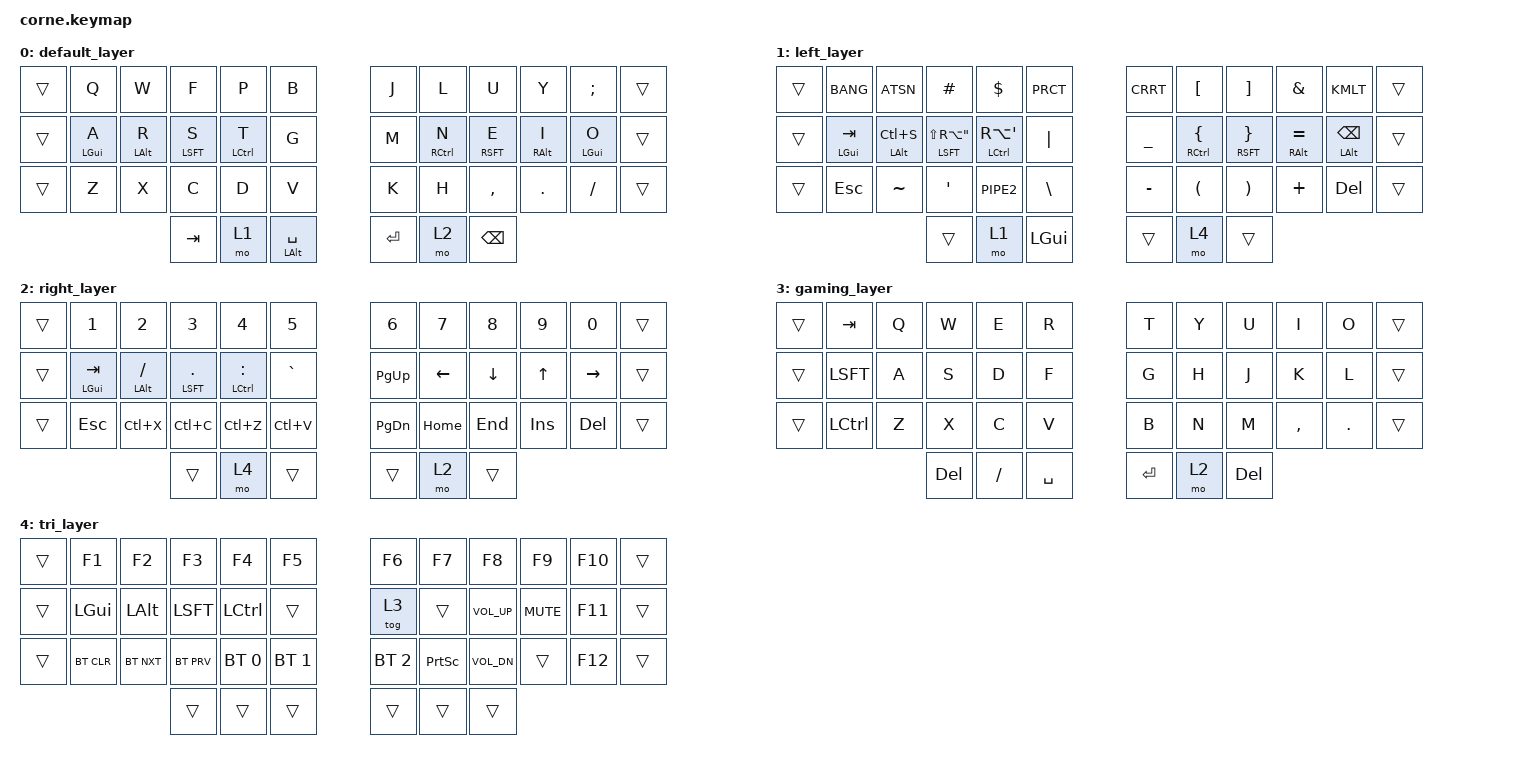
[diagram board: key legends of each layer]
/*
 * Copyright (c) 2022 The ZMK Contributors
 *
 * SPDX-License-Identifier: MIT
 */

#include <behaviors.dtsi>
#include <dt-bindings/zmk/keys.h>
#include <dt-bindings/zmk/bt.h>
#include "keys_se.h"

&mt {
    flavor = "tap-preferred";
    tapping_term_ms = <300>;
};

/ {
    macros {

        ZMK_MACRO(arrow,
            wait-ms = <30>;
            tap-ms = <40>;
            bindings = <&kp MINUS &kp LS(DOT)>;
        )

        ZMK_MACRO(eql_arrow,
            wait-ms = <30>;
            tap-ms = <40>;
            bindings = <&kp EQL &kp LS(DOT)>;
        )
    };

    combos {
        compatible = "zmk,combos";
        combo_esc {
            timeout-ms = <50>;
            key-positions = <1 2>;
            bindings = <&kp ESC>;
        };
        combo_capsword {
            timeout-ms = <50>;
            key-positions = <15 20>;
            bindings = <&caps_word>;
        };
        combo_eql_arrow {
            timeout-ms = <50>;
            key-positions = <4 5>;
            layers = <0 1 2 4>;
            bindings = <&eql_arrow>;
        };

        combo_arrow {
            timeout-ms = <50>;
            key-positions = <16 17>;
            layers = <0 1 2 4>;
            bindings = <&arrow>;
        };

         combo_tab {
            timeout-ms = <50>;
            key-positions = <14 15>;
            layers = <0 1 2 4>;
            bindings = <&kp TAB>;
        };
        combo_LPRN {
            timeout-ms = <50>;
            key-positions = <3 4>;
            layers = <0 1 2 4>;
            bindings = <&kp LPRN>;
        };

        combo_LBRC {
            timeout-ms = <50>;
            key-positions = <27 28>;
            layers = <0 1 2 4>;
            bindings = <&kp LBRC>;
        };

        combo_RPRN {
            timeout-ms = <50>;
            key-positions = <7 8>;
            layers = <0 1 2 4>;
            bindings = <&kp RPRN>;
        };

        combo_RBRC {
            timeout-ms = <50>;
            key-positions = <31 32>;
            layers = <0 1 2 4>;
            bindings = <&kp RBRC>;
        };

        combo_UNDER {
            timeout-ms = <50>;
            key-positions = <19 31>;
            layers = <0 1 2 4>;
            bindings = <&kp UNDER>;
        };

         combo_del {
            timeout-ms = <50>;
            key-positions = <33 34>;
            layers = <0 1 2 4>;
            bindings = <&kp DEL>;
        };

       combo_bspc {
            timeout-ms = <50>;
            key-positions = <19 20>;
            layers = <0 1 2 4>;
            bindings = <&kp BSPC>;
        };

        combo_ae {
            timeout-ms = <50>;
            key-positions = <20 21>;
            layers = <0 1 2 4>;
            bindings = <&kp RA(Q)>;
        };

        combo_oe {
            timeout-ms = <50>;
            key-positions = <32 33>;
            layers = <0 1 2 4>;
            bindings = <&kp RA(P)>;
        };

        combo_a {
            timeout-ms = <50>;
            key-positions = <8 9>;
            layers = <0 1 2 4>;
            bindings = <&kp RA(W)>;
        };

        combo_to_default {
            timeout-ms = <50>;
            key-positions = <38 39>;
            bindings = <&to 0>;
};

    };

        keymap {
                compatible = "zmk,keymap";

/*
* Base Layer: Colemak DH
*
* ,----------------------------------.                              ,----------------------------------.
* |   Q  |   W  |   F  |   P  |   B  |                              |   J  |   L  |   U  |   Y  | ;  : |
* |------+------+------+------+------|                              |------+------+------+------+------|
* |GUI(A)|alt(R)|sft(S)|ctl(T)|   G  |                              |   M  |ctl(N)|sft(E)|alt(I)|GUI(O)|
* |------+------+------+------+------|                              |------+------+------+------+------|
* |   Z  |   X  |   C  |   D  |   V  |                              |   K  |   H  | ,  < | . >  | /  ? |
* `--------------------+------+------|                              |------+------+------+------+------'
*               | TAB  |  Sym |Space |                              | Enter|  Nav | BSPC |
*               `--------------------'                              `--------------------'
*/
            default_layer {
        bindings = <

        &trans   &kp Q &kp W &kp F &kp P &kp B                       &kp J &kp L  &kp U    &kp Y   &kp SEMI &trans
        &trans &mt LGUI A &mt LALT R &mt LSFT S &mt LCTL T &kp G     &kp M &mt RCTL N &mt RSFT E &mt RALT I &mt LGUI O &trans
        &trans   &kp Z &kp X &kp C &kp D &kp V                       &kp K &kp H  &kp CMMA &kp DOT &kp SLASH &trans
                            &kp TAB &mo 1 &mt LALT SPC                       &kp RET &mo 2 &kp BSPC
        >;
        };

/*
* Sym Layer: Symbols
*
* ,----------------------------------.                                ,-----------------------------------.
* |   !    |   @  |   #  |   $  |   %  |                              |   ^  |   [  |   ]  |   &  |   *   |
* |--------+------+------+------+------|                              |------+------+------+------+-------|
* |GUI(tab)|  alt |   "  |   '  |   |  |                              |   _  |   {  |   }  |   =  |Backspc|
* |--------+------+------+------+------|                              |------+------+------+------+-------|
* |   ESC  |   ~  |   `  |   |  |   \  |                              |   -  |   (  |   )  |   +  | Delete|
* `----------------------+------+------|                              |------+------+------+------+-------'
*                 |      |      |  GUI |                              | Enter| Fkeys|      |
*                 `--------------------'                              `--------------------'
*/
            left_layer {
        bindings = <

        &trans  &kp BANG  &kp ATSN &kp HASH  &kp DLLR  &kp PRCT                                 &kp CRRT &kp LBKT &kp RBKT &kp AMPS &kp KMLT &trans
        &trans  &mt LGUI TAB &mt LALT LC(S) &mt LSFT LS(RA(DQT)) &mt LCTL RA(SQT) &kp PIPE      &kp UNDER &mt RCTL LBRC  &mt RSFT RBRC &mt RALT EQL  &mt LALT BSPC &trans
        &trans  &kp ESC &kp TILDE &kp APOS &kp PIPE2 &kp BACKSLASH                              &kp MINUS &kp LPRN &kp RPRN &kp PLUS  &kp DEL &trans
                                           &trans &mo 1  &kp LGUI                                &trans &mo 4 &trans
        >;
        };

/*
* Nav/Num Layer: Numbers, navigation
*
* ,----------------------------------.                              ,----------------------------------.
* |   1  |   2  |  3   |  4   |  5   |                              |   6  |   7  |   8  |   9  |  0   |
* |------+------+------+------+------|                              |------+------+------+------+------|
* |  GUI |  Alt | Shift| CTRL |      |                              | PgUp |  ←   |   ↓  |  ↑   |  →   |
* |------+------+------+------+------|                              |------+------+------+------+------|
* |      | CUT  | COPY | UNDO | PASTE|                              | PgDn | Home |  End |Insert|Delete|
* `--------------------+------+------|                              |------+------+------+------+------'
*               |      |Fkeys |Space |                              | Enter|      |      |
*               `--------------------'                              `--------------------'
*/
            right_layer {
        bindings = <

        &trans    &kp NUM_1  &kp NUM_2  &kp NUM_3  &kp NUM_4  &kp NUM_5                   &kp NUM_6  &kp NUM_7  &kp NUM_8  &kp NUM_9  &kp NUM_0 &trans
        &trans &mt LGUI TAB  &mt LALT FSLH &mt LSFT DOT &mt LCTL COLON &kp GRAVE       &kp PG_UP &kp LEFT &kp DOWN &kp UP  &kp RIGHT &trans
        &trans  &kp ESC  &kp LC(X) &kp LC(C) &kp LC(Z)   &kp LC(V)                      &kp PG_DN &kp HOME &kp END &kp INSERT  &kp DEL &trans
                                                     &trans &mo 4 &trans               &trans  &mo 2 &trans
        >;
        };

/*
* Gaming: Gaming layer
*
* ,----------------------------------.                              ,----------------------------------.
* |  TAB |   Q  |   W  |   E  |   R  |                              |   T  |   Y  |   U  |   I  |  O   |
* |------+------+------+------+------|                              |------+------+------+------+------|
* | SHIFT|   A  |   S  |   D  |   F  |                              |   G  |   H  |   J  |   K  |  L   |
* |------+------+------+------+------|                              |------+------+------+------+------|
* | CTRL |   Z  |   X  |   C  |   V  |                              |   B  |   N  |   M  | , <  | . >  |
* `-------------+------+------+------|                              |------+------+------+------+------'
*               | DEL  |   /  |Space |                              | Enter|  Nav | DEL  |
*               `--------------------'                              `--------------------'
*/
            gaming_layer {
                bindings = <

        &trans   &kp TAB &kp Q &kp W &kp E &kp R                       &kp T &kp Y  &kp U &kp I &kp O &trans
        &trans   &kp LSFT &kp A &kp S &kp D &kp F                      &kp G &kp H &kp J &kp K &kp L &trans
        &trans   &kp LCTL &kp Z &kp X &kp C &kp V                      &kp B &kp N &kp M &kp CMMA &kp DOT &trans
                        &kp DEL &kp SLASH &kp SPC                      &kp RET &mo 2 &kp DEL
            >;
            };
/*
* Function/media Layer: Function/media keys
*
* ,----------------------------------.                              ,-----------------------------------.
* |  F1  |  F2  |  F3  |  F4  |  F5  |                              |   F6  |  F7  |  F8  |  F9  | F10  |
* |------+------+------+------+------|                              |-------+------+------+------+------|
* |  GUI | Alt  |Shift | Ctrl |      |                              |Gaming | Ctrl |Vol Up|  Mute | F11 |
* |------+------+------+------+------|                              |-------+------+------+------+------|
* |BT_CLR|BT_NXT|BT_PRV| BT 0 | BT 1 |                              | BT 2  |PSCRN |Vol DN|      | F12  |
* `--------------------+------+------|                              |------+------+------+------+-------'
*               |      |      |      |                              |      |      |      |
*               `--------------------'                              `--------------------'
*/
             tri_layer {
        bindings = <

        &trans  &kp F1 &kp F2 &kp F3 &kp F4 &kp F5                              &kp F6 &kp F7 &kp F8 &kp F9 &kp F10 &trans
        &trans  &kp LGUI &kp LALT &kp LSFT &kp LCTL &trans                      &tog 3 &trans  &kp K_VOL_UP &kp K_MUTE &kp F11 &trans
        &trans  &bt BT_CLR  &bt BT_NXT &bt BT_PRV &bt BT_SEL 0 &bt BT_SEL 1     &bt BT_SEL 2 &kp PSCRN  &kp K_VOL_DN  &trans &kp F12 &trans
                                         &trans &trans &trans                   &trans &trans &trans
        >;
        };


    };
};
